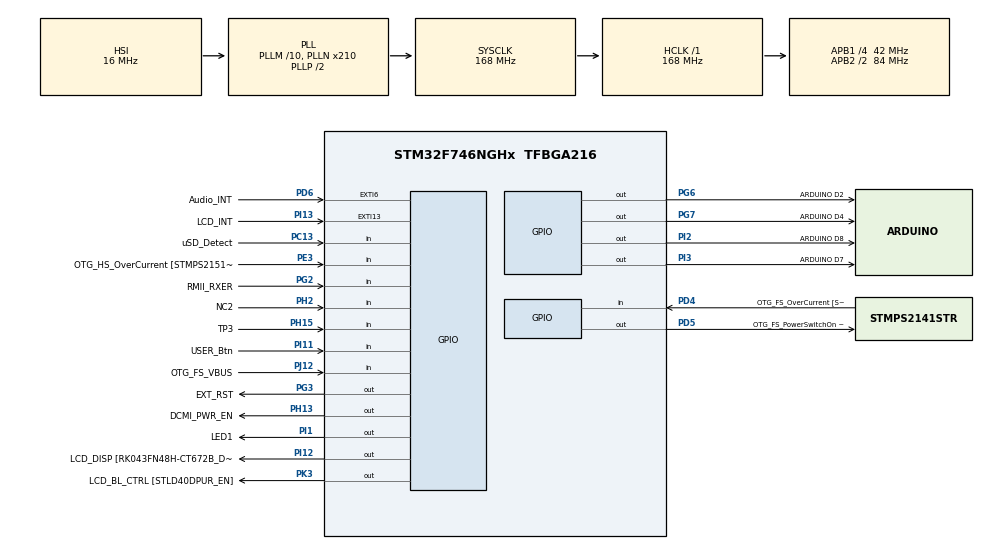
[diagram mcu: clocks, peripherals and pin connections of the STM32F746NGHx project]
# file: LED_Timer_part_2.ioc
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Mcu.Family=STM32F7
Mcu.Name=STM32F746NGHx
Mcu.Package=TFBGA216
NVIC.PriorityGroup=NVIC_PRIORITYGROUP_4
NVIC.TIM6_DAC_IRQn=true\:0\:0\:false\:false\:true\:true\:true\:true
PA0/WKUP.GPIO_Label=ARDUINO A0
PA0/WKUP.GPIO_Mode=GPIO_MODE_ANALOG
PA0/WKUP.GPIO_PuPd=GPIO_NOPULL
PA0/WKUP.Signal=ADCx_IN0
PA1.GPIO_Label=RMII_REF_CLK [LAN8742A-CZ-TR_REFCLK0]
PA1.Signal=ETH_REF_CLK
PA10.GPIO_Label=OTG_FS_ID
PA10.Signal=USB_OTG_FS_ID
PA11.GPIO_Label=OTG_FS_N
PA11.Signal=USB_OTG_FS_DM
PA12.GPIO_Label=OTG_FS_P
PA12.Signal=USB_OTG_FS_DP
PA13.GPIO_Label=SWDIO
PA13.Signal=SYS_JTMS-SWDIO
PA14.GPIO_Label=SWCLK
PA14.Signal=SYS_JTCK-SWCLK
PA15.GPIO_Label=ARDUINO PWM/D9
PA15.GPIO_ModeDefaultPP=GPIO_MODE_AF_PP
PA15.GPIO_PuPd=GPIO_NOPULL
PA15.GPIO_Speed=GPIO_SPEED_FREQ_LOW
PA15.Signal=S_TIM2_CH1_ETR
PA2.GPIO_Label=RMII_MDIO [LAN8742A-CZ-TR_MDIO]
PA2.Signal=ETH_MDIO
PA3.GPIO_Label=ULPI_D0 [USB3320C-EZK_D0]
PA3.Signal=USB_OTG_HS_ULPI_D0
PA4.GPIO_Label=DCMI_HSYNC
PA4.Signal=DCMI_HSYNC
PA5.GPIO_Label=ULPI_CLK [USB3320C-EZK_CLKOUT]
PA5.Signal=USB_OTG_HS_ULPI_CK
PA6.Signal=DCMI_PIXCLK
PA7.GPIO_Label=RMII_CRS_DV [LAN8742A-CZ-TR_CRS_DV]
PA7.Signal=ETH_CRS_DV
PA8.GPIO_Label=ARDUINO PWM/D10
PA8.GPIO_ModeDefaultPP=GPIO_MODE_AF_PP
PA8.GPIO_PuPd=GPIO_NOPULL
PA8.GPIO_Speed=GPIO_SPEED_FREQ_LOW
PA8.Signal=S_TIM1_CH1
PA9.GPIO_Label=VCP_TX [STM32F103CBT6_PA3]
PA9.GPIO_Mode=GPIO_MODE_AF_PP
PA9.GPIO_PuPd=GPIO_NOPULL
PA9.GPIO_Speed=GPIO_SPEED_FREQ_LOW
PA9.Signal=USART1_TX
PB0.GPIO_Label=ULPI_D1 [USB3320C-EZK_D1]
PB0.Signal=USB_OTG_HS_ULPI_D1
PB1.GPIO_Label=ULPI_D2 [USB3320C-EZK_D2]
PB1.Signal=USB_OTG_HS_ULPI_D2
PB10.GPIO_Label=ULPI_D3 [USB3320C-EZK_D3]
PB10.Signal=USB_OTG_HS_ULPI_D3
PB11.GPIO_Label=ULPI_D4 [USB3320C-EZK_D4]
PB11.Signal=USB_OTG_HS_ULPI_D4
PB12.GPIO_Label=ULPI_D5 [USB3320C-EZK_D5]
PB12.Signal=USB_OTG_HS_ULPI_D5
PB13.GPIO_Label=ULPI_D6 [USB3320C-EZK_D6]
PB13.Signal=USB_OTG_HS_ULPI_D6
PB14.GPIO_Label=ARDUINO MISO/D12
PB14.GPIO_Mode=GPIO_MODE_AF_PP
PB14.GPIO_PuPd=GPIO_NOPULL
PB14.GPIO_Speed=GPIO_SPEED_FREQ_LOW
PB14.Signal=SPI2_MISO
PB15.GPIO_Label=ARDUINO MOSI/PWM/D11
PB15.GPIO_Mode=GPIO_MODE_AF_PP
PB15.GPIO_PuPd=GPIO_NOPULL
PB15.GPIO_Speed=GPIO_SPEED_FREQ_LOW
PB15.Signal=SPI2_MOSI
PB2.Signal=QUADSPI_CLK
PB3.GPIO_Label=SWO
PB3.Signal=SYS_JTDO-SWO
PB4.GPIO_Label=ARDUINO PWM/D3
PB4.GPIO_ModeDefaultPP=GPIO_MODE_AF_PP
PB4.GPIO_PuPd=GPIO_NOPULL
PB4.GPIO_Speed=GPIO_SPEED_FREQ_LOW
PB4.Signal=S_TIM3_CH1
PB5.GPIO_Label=ULPI_D7 [USB3320C-EZK_D7]
PB5.Signal=USB_OTG_HS_ULPI_D7
PB6.GPIO_Label=QSPI_NCS [N25Q128A13EF840E_S]
PB6.Signal=QUADSPI_BK1_NCS
PB7.GPIO_Label=VCP_RX [STM32F103CBT6_PA2]
PB7.GPIO_Mode=GPIO_MODE_AF_PP
PB7.GPIO_PuPd=GPIO_NOPULL
PB7.GPIO_Speed=GPIO_SPEED_FREQ_LOW
PB7.Signal=USART1_RX
PB8.GPIO_Label=ARDUINO SCL/D15
PB8.GPIO_Mode=GPIO_MODE_AF_OD
PB8.GPIO_PuPd=GPIO_NOPULL
PB8.GPIO_Speed=GPIO_SPEED_FREQ_LOW
PB8.Signal=I2C1_SCL
PB9.GPIO_Label=ARDUINO SDA/D14
PB9.GPIO_Mode=GPIO_MODE_AF_OD
PB9.GPIO_PuPd=GPIO_NOPULL
PB9.GPIO_Speed=GPIO_SPEED_FREQ_LOW
PB9.Signal=I2C1_SDA
PC0.GPIO_Label=ULPI_STP [USB3320C-EZK_STP]
PC0.Signal=USB_OTG_HS_ULPI_STP
PC1.GPIO_Label=RMII_MDC [LAN8742A-CZ-TR_MDC]
PC1.Signal=ETH_MDC
PC10.GPIO_Label=SDMMC_D2
PC10.Signal=SDMMC1_D2
PC11.GPIO_Label=SDMMC_D3
PC11.Signal=SDMMC1_D3
PC12.GPIO_Label=SDMMC_CK
PC12.Signal=SDMMC1_CK
PC13.GPIO_Label=uSD_Detect
PC13.Signal=GPIO_Input
PC14/OSC32_IN.GPIO_Label=RCC_OSC32_IN
PC14/OSC32_IN.Signal=RCC_OSC32_IN
PC15/OSC32_OUT.GPIO_Label=RCC_OSC32_OUT
PC15/OSC32_OUT.Signal=RCC_OSC32_OUT
PC3.GPIO_Label=FMC_SDCKE0 [MT48LC4M32B2B5-6A_CKE]
PC3.Signal=FMC_SDCKE0
PC4.GPIO_Label=RMII_RXD0 [LAN8742A-CZ-TR_RXD0]
PC4.Signal=ETH_RXD0
PC5.GPIO_Label=RMII_RXD1 [LAN8742A-CZ-TR_RXD1]
PC5.Signal=ETH_RXD1
PC6.GPIO_Label=ARDUINO TX/D1
PC6.Signal=USART6_TX
PC7.GPIO_Label=ARDUINO RX/D0
PC7.Signal=USART6_RX
PC8.Signal=SDMMC1_D0
PC9.Signal=SDMMC1_D1
PD0.GPIO_Label=FMC_D2 [MT48LC4M32B2B5-6A_DQ2]
PD0.Signal=FMC_D2_DA2
PD1.GPIO_Label=FMC_D3 [MT48LC4M32B2B5-6A_DQ3]
PD1.Signal=FMC_D3_DA3
PD10.GPIO_Label=FMC_D15 [MT48LC4M32B2B5-6A_DQ15]
PD10.Signal=FMC_D15_DA15
PD11.GPIO_Label=QSPI_D0 [N25Q128A13EF840E_DQ0]
PD11.Signal=QUADSPI_BK1_IO0
PD12.GPIO_Label=QSPI_D1 [N25Q128A13EF840E_DQ1]
PD12.Signal=QUADSPI_BK1_IO1
PD13.GPIO_Label=QSPI_D3 [N25Q128A13EF840E_DQ3]
PD13.Signal=QUADSPI_BK1_IO3
PD14.GPIO_Label=FMC_D0 [MT48LC4M32B2B5-6A_DQ0]
PD14.Signal=FMC_D0_DA0
PD15.GPIO_Label=FMC_D1 [MT48LC4M32B2B5-6A_DQ1]
PD15.Signal=FMC_D1_DA1
PD2.GPIO_Label=SDMMC_D0
PD2.Signal=SDMMC1_CMD
PD3.GPIO_Label=DCMI_D5
PD3.Signal=DCMI_D5
PD4.GPIO_Label=OTG_FS_OverCurrent [STMPS2141STR_Fault]
PD4.Signal=GPIO_Input
PD5.GPIO_Label=OTG_FS_PowerSwitchOn [STMPS2141STR_EN]
PD5.PinState=GPIO_PIN_SET
PD5.Signal=GPIO_Output
PD6.GPIO_Label=Audio_INT
PD6.GPIO_ModeDefaultEXTI=GPIO_MODE_EVT_RISING
PD6.Signal=GPXTI6
PD7.GPIO_Label=SPDIF_RX0 [74LVC1G04SE_4]
PD7.Signal=SPDIFRX_IN0
PD8.GPIO_Label=FMC_D13 [MT48LC4M32B2B5-6A_DQ13]
PD8.Signal=FMC_D13_DA13
PD9.GPIO_Label=FMC_D14 [MT48LC4M32B2B5-6A_DQ14]
PD9.Signal=FMC_D14_DA14
PE0.GPIO_Label=FMC_NBL0 [MT48LC4M32B2B5-6A_DQM0]
PE0.Signal=FMC_NBL0
PE1.GPIO_Label=FMC_NBL1 [MT48LC4M32B2B5-6A_DQM1]
PE1.Signal=FMC_NBL1
PE10.GPIO_Label=FMC_D7 [MT48LC4M32B2B5-6A_DQ7]
PE10.Signal=FMC_D7_DA7
PE11.GPIO_Label=FMC_D8 [MT48LC4M32B2B5-6A_DQ8]
PE11.Signal=FMC_D8_DA8
PE12.GPIO_Label=FMC_D9 [MT48LC4M32B2B5-6A_DQ9]
PE12.Signal=FMC_D9_DA9
PE13.GPIO_Label=FMC_D10 [MT48LC4M32B2B5-6A_DQ10]
PE13.Signal=FMC_D10_DA10
PE14.GPIO_Label=FMC_D11 [MT48LC4M32B2B5-6A_DQ11]
PE14.Signal=FMC_D11_DA11
PE15.GPIO_Label=FMC_D12 [MT48LC4M32B2B5-6A_DQ12]
PE15.Signal=FMC_D12_DA12
PE2.GPIO_Label=QSPI_D2 [N25Q128A13EF840E_DQ2]
PE2.Signal=QUADSPI_BK1_IO2
PE3.GPIO_Label=OTG_HS_OverCurrent [STMPS2151STR_FAULT]
PE3.Signal=GPIO_Input
PE4.GPIO_Label=LCD_B0 [RK043FN48H-CT672B_B0]
PE4.Signal=LTDC_B0
PE5.GPIO_Label=DCMI_D6
PE5.Signal=DCMI_D6
PE6.GPIO_Label=DCMI_D7
PE6.Signal=DCMI_D7
PE7.GPIO_Label=FMC_D4 [MT48LC4M32B2B5-6A_DQ4]
PE7.Signal=FMC_D4_DA4
PE8.GPIO_Label=FMC_D5 [MT48LC4M32B2B5-6A_DQ5]
PE8.Signal=FMC_D5_DA5
PE9.GPIO_Label=FMC_D6 [MT48LC4M32B2B5-6A_DQ6]
PE9.Signal=FMC_D6_DA6
PF0.GPIO_Label=FMC_A0 [MT48LC4M32B2B5-6A_A0]
PF0.Signal=FMC_A0
PF1.GPIO_Label=FMC_A1 [MT48LC4M32B2B5-6A_A1]
PF1.Signal=FMC_A1
PF10.GPIO_Label=ARDUINO A1
PF10.GPIO_Mode=GPIO_MODE_ANALOG
PF10.GPIO_PuPd=GPIO_NOPULL
PF10.Signal=ADC3_IN8
PF11.GPIO_Label=FMC_SDNRAS [MT48LC4M32B2B5-6A_RAS]
PF11.Signal=FMC_SDNRAS
PF12.GPIO_Label=FMC_A6 [MT48LC4M32B2B5-6A_A6]
PF12.Signal=FMC_A6
PF13.GPIO_Label=FMC_A7 [MT48LC4M32B2B5-6A_A7]
PF13.Signal=FMC_A7
PF14.GPIO_Label=FMC_A8 [MT48LC4M32B2B5-6A_A8]
PF14.Signal=FMC_A8
PF15.GPIO_Label=FMC_A9 [MT48LC4M32B2B5-6A_A9]
PF15.Signal=FMC_A9
PF2.GPIO_Label=FMC_A2 [MT48LC4M32B2B5-6A_A2]
PF2.Signal=FMC_A2
PF3.GPIO_Label=FMC_A3 [MT48LC4M32B2B5-6A_A3]
PF3.Signal=FMC_A3
PF4.GPIO_Label=FMC_A4 [MT48LC4M32B2B5-6A_A4]
PF4.Signal=FMC_A4
PF5.GPIO_Label=FMC_A5 [MT48LC4M32B2B5-6A_A5]
PF5.Signal=FMC_A5
PF6.GPIO_Label=ARDUINO A5
PF6.GPIO_Mode=GPIO_MODE_ANALOG
PF6.GPIO_PuPd=GPIO_NOPULL
PF6.Signal=ADC3_IN4
PF7.GPIO_Label=ARDUINO A4
PF7.GPIO_Mode=GPIO_MODE_ANALOG
PF7.GPIO_PuPd=GPIO_NOPULL
PF7.Signal=ADC3_IN5
PF8.GPIO_Label=ARDUINO A3
PF8.GPIO_Mode=GPIO_MODE_ANALOG
PF8.GPIO_PuPd=GPIO_NOPULL
PF8.Signal=ADC3_IN6
PF9.GPIO_Label=ARDUINO A2
PF9.GPIO_Mode=GPIO_MODE_ANALOG
PF9.GPIO_PuPd=GPIO_NOPULL
PF9.Signal=ADC3_IN7
PG0.GPIO_Label=FMC_A10 [MT48LC4M32B2B5-6A_A10]
PG0.Signal=FMC_A10
PG1.GPIO_Label=FMC_A11 [MT48LC4M32B2B5-6A_A11]
PG1.Signal=FMC_A11
PG10.GPIO_Label=SAI2_SDB [WM8994ECS/R_ADCDAT1]
PG10.Signal=SAI2_SD_B
PG11.GPIO_Label=RMII_TX_EN [LAN8742A-CZ-TR_TXEN]
PG11.Signal=ETH_TX_EN
PG12.GPIO_Label=LCD_B4 [RK043FN48H-CT672B_B4]
PG12.Signal=LTDC_B4
PG13.GPIO_Label=RMII_TXD0 [LAN8742A-CZ-TR_TXD0]
PG13.Signal=ETH_TXD0
PG14.GPIO_Label=RMII_TXD1 [LAN8742A-CZ-TR_TXD1]
PG14.Signal=ETH_TXD1
PG15.GPIO_Label=FMC_SDNCAS [MT48LC4M32B2B5-6A_CAS]
PG15.Signal=FMC_SDNCAS
PG2.GPIO_Label=RMII_RXER
PG2.Signal=GPIO_Input
PG3.GPIO_Label=EXT_RST
PG3.Signal=GPIO_Output
PG4.GPIO_Label=FMC_BA0 [MT48LC4M32B2B5-6A_BA0]
PG4.Signal=FMC_A14_BA0
PG5.GPIO_Label=FMC_BA1 [MT48LC4M32B2B5-6A_BA1]
PG5.Signal=FMC_A15_BA1
PG6.GPIO_Label=ARDUINO D2
PG6.Signal=GPIO_Output
PG7.GPIO_Label=ARDUINO D4
PG7.Signal=GPIO_Output
PG8.GPIO_Label=FMC_SDCLK [MT48LC4M32B2B5-6A_CLK]
PG8.Signal=FMC_SDCLK
PG9.GPIO_Label=DCMI_VSYNC
PG9.Signal=DCMI_VSYNC
PH0/OSC_IN.GPIO_Label=OSC_25M [NZ2520SB-25.00M_OUT]
PH0/OSC_IN.Signal=RCC_OSC_IN
PH1/OSC_OUT.Signal=RCC_OSC_OUT
PH10.GPIO_Label=DCMI_D1
PH10.Signal=DCMI_D1
PH11.GPIO_Label=DCMI_D2
PH11.Signal=DCMI_D2
PH12.GPIO_Label=DCMI_D3
PH12.Signal=DCMI_D3
PH13.GPIO_Label=DCMI_PWR_EN
PH13.Signal=GPIO_Output
PH14.GPIO_Label=DCMI_D4
PH14.Signal=DCMI_D4
PH15.GPIO_Label=TP3
PH15.Signal=GPIO_Input
PH2.GPIO_Label=NC2
PH2.Signal=GPIO_Input
PH3.GPIO_Label=FMC_SDNE0 [MT48LC4M32B2B5-6A_CS]
PH3.Signal=FMC_SDNE0
PH4.GPIO_Label=ULPI_NXT [USB3320C-EZK_NXT]
PH4.Signal=USB_OTG_HS_ULPI_NXT
PH5.GPIO_Label=FMC_SDNME [MT48LC4M32B2B5-6A_WE]
PH5.Signal=FMC_SDNWE
PH6.GPIO_Label=ARDUINO PWM/D6
PH6.Signal=S_TIM12_CH1
PH7.GPIO_Label=LCD_SCL [RK043FN48H-CT672B_SCL]
PH7.Signal=I2C3_SCL
PH8.GPIO_Label=LCD_SDA [RK043FN48H-CT672B_SDA]
PH8.Signal=I2C3_SDA
PH9.GPIO_Label=DCMI_D0
PH9.Signal=DCMI_D0
PI0.GPIO_Label=ARDUINO PWM/CS/D5
PI0.GPIO_ModeDefaultPP=GPIO_MODE_AF_PP
PI0.GPIO_PuPd=GPIO_NOPULL
PI0.GPIO_Speed=GPIO_SPEED_FREQ_LOW
PI0.Signal=S_TIM5_CH4
PI1.GPIO_Label=LED1
PI1.Signal=GPIO_Output
PI10.GPIO_Label=LCD_HSYNC [RK043FN48H-CT672B_HSYNC]
PI10.Signal=LTDC_HSYNC
PI11.GPIO_Label=USER_Btn
PI11.Signal=GPIO_Input
PI12.GPIO_Label=LCD_DISP [RK043FN48H-CT672B_DISP] 
PI12.Signal=GPIO_Output
PI13.GPIO_Label=LCD_INT
PI13.GPIO_ModeDefaultEXTI=GPIO_MODE_EVT_RISING
PI13.Signal=GPXTI13
PI14.GPIO_Label=LCD_CLK [RK043FN48H-CT672B_CLK]
PI14.Signal=LTDC_CLK
PI15.GPIO_Label=LCD_R0 [RK043FN48H-CT672B_R0]
PI15.Signal=LTDC_R0
PI2.GPIO_Label=ARDUINO D8
PI2.Signal=GPIO_Output
PI3.GPIO_Label=ARDUINO D7
PI3.Signal=GPIO_Output
PI4.GPIO_Label=SAI2_MCLKA [WM8994ECS/R_MCLK1]
PI4.Signal=SAI2_MCLK_A
PI5.GPIO_Label=SAI2_SCKA [WM8994ECS/R_BCLK1]
PI5.Signal=SAI2_SCK_A
PI6.GPIO_Label=SAI2_SDA [WM8994ECS/R_DACDAT1]
PI6.Signal=SAI2_SD_A
PI7.GPIO_Label=SAI2_FSA [WM8994ECS/R_LRCLK1]
PI7.Signal=SAI2_FS_A
PI8.GPIO_Label=NC1 [TP2]
PI8.Signal=RTC_TS
PI9.GPIO_Label=LCD_VSYNC [RK043FN48H-CT672B_VSYNC]
PI9.Signal=LTDC_VSYNC
PJ0.GPIO_Label=LCD_R1 [RK043FN48H-CT672B_R1]
PJ0.Signal=LTDC_R1
PJ1.GPIO_Label=LCD_R2 [RK043FN48H-CT672B_R2]
PJ1.Signal=LTDC_R2
PJ10.GPIO_Label=LCD_G3 [RK043FN48H-CT672B_G3]
PJ10.Signal=LTDC_G3
PJ11.GPIO_Label=LCD_G4 [RK043FN48H-CT672B_G4]
PJ11.Signal=LTDC_G4
PJ12.GPIO_Label=OTG_FS_VBUS
PJ12.Signal=GPIO_Input
PJ13.GPIO_Label=LCD_B1 [RK043FN48H-CT672B_B1]
PJ13.Signal=LTDC_B1
PJ14.GPIO_Label=LCD_B2 [RK043FN48H-CT672B_B2]
PJ14.Signal=LTDC_B2
PJ15.GPIO_Label=LCD_B3 [RK043FN48H-CT672B_B3]
PJ15.Signal=LTDC_B3
PJ2.GPIO_Label=LCD_R3 [RK043FN48H-CT672B_R3]
PJ2.Signal=LTDC_R3
PJ3.GPIO_Label=LCD_R4 [RK043FN48H-CT672B_R4]
PJ3.Signal=LTDC_R4
PJ4.GPIO_Label=LCD_R5 [RK043FN48H-CT672B_R5]
PJ4.Signal=LTDC_R5
PJ5.GPIO_Label=LCD_R6 [RK043FN48H-CT672B_R6]
PJ5.Signal=LTDC_R6
PJ6.GPIO_Label=LCD_R7 [RK043FN48H-CT672B_R7]
PJ6.Signal=LTDC_R7
PJ7.GPIO_Label=LCD_G0 [RK043FN48H-CT672B_G0]
PJ7.Signal=LTDC_G0
PJ8.GPIO_Label=LCD_G1 [RK043FN48H-CT672B_G1]
PJ8.Signal=LTDC_G1
PJ9.GPIO_Label=LCD_G2 [RK043FN48H-CT672B_G2]
PJ9.Signal=LTDC_G2
PK0.GPIO_Label=LCD_G5 [RK043FN48H-CT672B_G5]
PK0.Signal=LTDC_G5
PK1.GPIO_Label=LCD_G6 [RK043FN48H-CT672B_G6]
PK1.Signal=LTDC_G6
PK2.GPIO_Label=LCD_G7 [RK043FN48H-CT672B_G7]
PK2.Signal=LTDC_G7
PK3.GPIO_Label=LCD_BL_CTRL [STLD40DPUR_EN]
PK3.Signal=GPIO_Output
PK4.GPIO_Label=LCD_B5 [RK043FN48H-CT672B_B5]
PK4.Signal=LTDC_B5
PK5.GPIO_Label=LCD_B6 [RK043FN48H-CT672B_B6]
PK5.Signal=LTDC_B6
PK6.GPIO_Label=LCD_B7 [RK043FN48H-CT672B_B7]
PK6.Signal=LTDC_B7
PK7.GPIO_Label=LCD_DE [RK043FN48H-CT672B_DE]
PK7.Signal=LTDC_DE
ProjectManager.HeapSize=0x200
ProjectManager.StackSize=0x400
ProjectManager.TargetToolchain=STM32CubeIDE
RCC.AHBFreq_Value=168000000
RCC.APB1CLKDivider=RCC_HCLK_DIV4
RCC.APB1Freq_Value=42000000
RCC.APB1TimFreq_Value=84000000
RCC.APB2CLKDivider=RCC_HCLK_DIV2
RCC.APB2Freq_Value=84000000
RCC.APB2TimFreq_Value=168000000
RCC.CortexFreq_Value=168000000
RCC.HCLKFreq_Value=168000000
RCC.HSE_VALUE=25000000
RCC.HSI_VALUE=16000000
RCC.LSE_VALUE=32768
RCC.PLLM=10
RCC.PLLN=210
RCC.PLLSourceVirtual=RCC_PLLSOURCE_HSI
RCC.SYSCLKFreq_VALUE=168000000
RCC.SYSCLKSource=RCC_SYSCLKSOURCE_PLLCLK
RCC.USBFreq_Value=168000000
RCC.VCOOutputFreq_Value=336000000
SH.ADCx_IN0.0=ADC3_IN0
SH.FMC_A0.0=FMC_A0
SH.FMC_A1.0=FMC_A1
SH.FMC_A10.0=FMC_A10
SH.FMC_A11.0=FMC_A11
SH.FMC_A14_BA0.0=FMC_BA0
SH.FMC_A15_BA1.0=FMC_BA1
SH.FMC_A2.0=FMC_A2
SH.FMC_A3.0=FMC_A3
SH.FMC_A4.0=FMC_A4
SH.FMC_A5.0=FMC_A5
SH.FMC_A6.0=FMC_A6
SH.FMC_A7.0=FMC_A7
SH.FMC_A8.0=FMC_A8
SH.FMC_A9.0=FMC_A9
SH.FMC_D0_DA0.0=FMC_D0
SH.FMC_D10_DA10.0=FMC_D10
SH.FMC_D11_DA11.0=FMC_D11
SH.FMC_D12_DA12.0=FMC_D12
SH.FMC_D13_DA13.0=FMC_D13
SH.FMC_D14_DA14.0=FMC_D14
SH.FMC_D15_DA15.0=FMC_D15
SH.FMC_D1_DA1.0=FMC_D1
SH.FMC_D2_DA2.0=FMC_D2
SH.FMC_D3_DA3.0=FMC_D3
SH.FMC_D4_DA4.0=FMC_D4
SH.FMC_D5_DA5.0=FMC_D5
SH.FMC_D6_DA6.0=FMC_D6
SH.FMC_D7_DA7.0=FMC_D7
SH.FMC_D8_DA8.0=FMC_D8
SH.FMC_D9_DA9.0=FMC_D9
SH.FMC_NBL0.0=FMC_NBL0
SH.FMC_NBL1.0=FMC_NBL1
SH.FMC_SDCLK.0=FMC_SDCLK
SH.FMC_SDNCAS.0=FMC_SDNCAS
SH.FMC_SDNRAS.0=FMC_SDNRAS
SH.FMC_SDNWE.0=FMC_SDNWE
SH.S_TIM12_CH1.0=TIM12_CH1
SH.S_TIM1_CH1.0=TIM1_CH1
SH.S_TIM2_CH1_ETR.0=TIM2_CH1
SH.S_TIM3_CH1.0=TIM3_CH1
SH.S_TIM5_CH4.0=TIM5_CH4
TIM6.Period=4999
TIM6.Prescaler=8399
VP_TIM6_VS_ClockSourceINT.Mode=Enable_Timer
board=STM32F746G-DISCO

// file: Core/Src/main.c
/* USER CODE BEGIN Header */
/**
  ******************************************************************************
  * @file           : main.c
  * @brief          : Main program body
  ******************************************************************************
  * @attention
  *
  * Copyright (c) 2026 STMicroelectronics.
  * All rights reserved.
  *
  * This software is licensed under terms that can be found in the LICENSE file
  * in the root directory of this software component.
  * If no LICENSE file comes with this software, it is provided AS-IS.
  *
  ******************************************************************************
  */
/* USER CODE END Header */
#include "main.h"

TIM_HandleTypeDef htim6;

/* USER CODE BEGIN PV */
volatile uint32_t current_freq = 1;
uint8_t is_custom_duty_cycle = 0;
uint32_t led_on_time = 0;
uint32_t btn_press_start = 0;
uint8_t btn_pressed = 0;
/* USER CODE END PV */

void SystemClock_Config(void);
static void MX_GPIO_Init(void);
static void MX_TIM6_Init(void);

int main(void)
{

  /* MCU Configuration--------------------------------------------------------*/

  /* Reset of all peripherals, Initializes the Flash interface and the Systick. */
  HAL_Init();

  /* Configure the system clock */
  SystemClock_Config();

  /* Initialize all configured peripherals */
  MX_GPIO_Init();
  MX_TIM6_Init();
  /* USER CODE BEGIN 2 */

  // Timer on
  __HAL_TIM_SET_AUTORELOAD(&htim6, 5000 - 1);
  HAL_TIM_Base_Start_IT(&htim6);
  /* USER CODE END 2 */

  /* Infinite loop */
  /* USER CODE BEGIN WHILE */
  while (1)
  {

      if (HAL_GPIO_ReadPin(USER_Btn_GPIO_Port, USER_Btn_Pin) == GPIO_PIN_SET) {
          if (!btn_pressed) {
              btn_pressed = 1;
              btn_press_start = HAL_GetTick();
          }
      }

      else {
          if (btn_pressed) {
              btn_pressed = 0;
              uint32_t press_duration = HAL_GetTick() - btn_press_start;

              if (press_duration >= 1000) {
                  is_custom_duty_cycle = !is_custom_duty_cycle;
              }

              else if (press_duration > 50) {
                  current_freq *= 2;
                  if (current_freq > 16) current_freq = 1;

                  uint32_t new_period = (10000 / (current_freq * 2)) - 1;
                  __HAL_TIM_SET_AUTORELOAD(&htim6, new_period);
                  __HAL_TIM_SET_COUNTER(&htim6, 0);
              }
          }
      }

      if (is_custom_duty_cycle == 1) {
          if (HAL_GPIO_ReadPin(LED1_GPIO_Port, LED1_Pin) == GPIO_PIN_SET) {
              if ((HAL_GetTick() - led_on_time) >= 50) {
                  HAL_GPIO_WritePin(LED1_GPIO_Port, LED1_Pin, GPIO_PIN_RESET);
              }
          }
      }
    /* USER CODE END WHILE */

  }
}

void SystemClock_Config(void)
{
  RCC_OscInitTypeDef RCC_OscInitStruct = {0};
  RCC_ClkInitTypeDef RCC_ClkInitStruct = {0};

  /** Configure the main internal regulator output voltage
  */
  __HAL_RCC_PWR_CLK_ENABLE();
  __HAL_PWR_VOLTAGESCALING_CONFIG(PWR_REGULATOR_VOLTAGE_SCALE2);

  /** Initializes the RCC Oscillators according to the specified parameters
  * in the RCC_OscInitTypeDef structure.
  */
  RCC_OscInitStruct.OscillatorType = RCC_OSCILLATORTYPE_HSI;
  RCC_OscInitStruct.HSIState = RCC_HSI_ON;
  RCC_OscInitStruct.HSICalibrationValue = RCC_HSICALIBRATION_DEFAULT;
  RCC_OscInitStruct.PLL.PLLState = RCC_PLL_ON;
  RCC_OscInitStruct.PLL.PLLSource = RCC_PLLSOURCE_HSI;
  RCC_OscInitStruct.PLL.PLLM = 10;
  RCC_OscInitStruct.PLL.PLLN = 210;
  RCC_OscInitStruct.PLL.PLLP = RCC_PLLP_DIV2;
  RCC_OscInitStruct.PLL.PLLQ = 2;
  if (HAL_RCC_OscConfig(&RCC_OscInitStruct) != HAL_OK)
  {
    Error_Handler();
  }

  /** Initializes the CPU, AHB and APB buses clocks
  */
  RCC_ClkInitStruct.ClockType = RCC_CLOCKTYPE_HCLK|RCC_CLOCKTYPE_SYSCLK
                              |RCC_CLOCKTYPE_PCLK1|RCC_CLOCKTYPE_PCLK2;
  RCC_ClkInitStruct.SYSCLKSource = RCC_SYSCLKSOURCE_PLLCLK;
  RCC_ClkInitStruct.AHBCLKDivider = RCC_SYSCLK_DIV1;
  RCC_ClkInitStruct.APB1CLKDivider = RCC_HCLK_DIV4;
  RCC_ClkInitStruct.APB2CLKDivider = RCC_HCLK_DIV2;

  if (HAL_RCC_ClockConfig(&RCC_ClkInitStruct, FLASH_LATENCY_5) != HAL_OK)
  {
    Error_Handler();
  }
}

static void MX_TIM6_Init(void)
{

  TIM_MasterConfigTypeDef sMasterConfig = {0};

  htim6.Instance = TIM6;
  htim6.Init.Prescaler = 8399;
  htim6.Init.CounterMode = TIM_COUNTERMODE_UP;
  htim6.Init.Period = 4999;
  htim6.Init.AutoReloadPreload = TIM_AUTORELOAD_PRELOAD_DISABLE;
  if (HAL_TIM_Base_Init(&htim6) != HAL_OK)
  {
    Error_Handler();
  }
  sMasterConfig.MasterOutputTrigger = TIM_TRGO_RESET;
  sMasterConfig.MasterSlaveMode = TIM_MASTERSLAVEMODE_DISABLE;
  if (HAL_TIMEx_MasterConfigSynchronization(&htim6, &sMasterConfig) != HAL_OK)
  {
    Error_Handler();
  }

}

static void MX_GPIO_Init(void)
{
  GPIO_InitTypeDef GPIO_InitStruct = {0};

  /* GPIO Ports Clock Enable */
  __HAL_RCC_GPIOE_CLK_ENABLE();
  __HAL_RCC_GPIOG_CLK_ENABLE();
  __HAL_RCC_GPIOB_CLK_ENABLE();
  __HAL_RCC_GPIOD_CLK_ENABLE();
  __HAL_RCC_GPIOC_CLK_ENABLE();
  __HAL_RCC_GPIOA_CLK_ENABLE();
  __HAL_RCC_GPIOJ_CLK_ENABLE();
  __HAL_RCC_GPIOI_CLK_ENABLE();
  __HAL_RCC_GPIOK_CLK_ENABLE();
  __HAL_RCC_GPIOF_CLK_ENABLE();
  __HAL_RCC_GPIOH_CLK_ENABLE();

  /*Configure GPIO pin Output Level */
  HAL_GPIO_WritePin(OTG_FS_PowerSwitchOn_GPIO_Port, OTG_FS_PowerSwitchOn_Pin, GPIO_PIN_SET);

  /*Configure GPIO pin Output Level */
  HAL_GPIO_WritePin(GPIOI, ARDUINO_D7_Pin|ARDUINO_D8_Pin|LED1_Pin|LCD_DISP_Pin, GPIO_PIN_RESET);

  /*Configure GPIO pin Output Level */
  HAL_GPIO_WritePin(LCD_BL_CTRL_GPIO_Port, LCD_BL_CTRL_Pin, GPIO_PIN_RESET);

  /*Configure GPIO pin Output Level */
  HAL_GPIO_WritePin(DCMI_PWR_EN_GPIO_Port, DCMI_PWR_EN_Pin, GPIO_PIN_RESET);

  /*Configure GPIO pin Output Level */
  HAL_GPIO_WritePin(GPIOG, ARDUINO_D4_Pin|ARDUINO_D2_Pin|EXT_RST_Pin, GPIO_PIN_RESET);

  /*Configure GPIO pin : LCD_B0_Pin */
  GPIO_InitStruct.Pin = LCD_B0_Pin;
  GPIO_InitStruct.Mode = GPIO_MODE_AF_PP;
  GPIO_InitStruct.Pull = GPIO_NOPULL;
  GPIO_InitStruct.Speed = GPIO_SPEED_FREQ_LOW;
  GPIO_InitStruct.Alternate = GPIO_AF14_LTDC;
  HAL_GPIO_Init(LCD_B0_GPIO_Port, &GPIO_InitStruct);

  /*Configure GPIO pin : OTG_HS_OverCurrent_Pin */
  GPIO_InitStruct.Pin = OTG_HS_OverCurrent_Pin;
  GPIO_InitStruct.Mode = GPIO_MODE_INPUT;
  GPIO_InitStruct.Pull = GPIO_NOPULL;
  HAL_GPIO_Init(OTG_HS_OverCurrent_GPIO_Port, &GPIO_InitStruct);

  /*Configure GPIO pin : QSPI_D2_Pin */
  GPIO_InitStruct.Pin = QSPI_D2_Pin;
  GPIO_InitStruct.Mode = GPIO_MODE_AF_PP;
  GPIO_InitStruct.Pull = GPIO_NOPULL;
  GPIO_InitStruct.Speed = GPIO_SPEED_FREQ_VERY_HIGH;
  GPIO_InitStruct.Alternate = GPIO_AF9_QUADSPI;
  HAL_GPIO_Init(QSPI_D2_GPIO_Port, &GPIO_InitStruct);

  /*Configure GPIO pins : RMII_TXD1_Pin RMII_TXD0_Pin RMII_TX_EN_Pin */
  GPIO_InitStruct.Pin = RMII_TXD1_Pin|RMII_TXD0_Pin|RMII_TX_EN_Pin;
  GPIO_InitStruct.Mode = GPIO_MODE_AF_PP;
  GPIO_InitStruct.Pull = GPIO_NOPULL;
  GPIO_InitStruct.Speed = GPIO_SPEED_FREQ_VERY_HIGH;
  GPIO_InitStruct.Alternate = GPIO_AF11_ETH;
  HAL_GPIO_Init(GPIOG, &GPIO_InitStruct);

  /*Configure GPIO pins : FMC_NBL1_Pin FMC_NBL0_Pin FMC_D5_Pin FMC_D6_Pin
                           FMC_D8_Pin FMC_D11_Pin FMC_D4_Pin FMC_D7_Pin
                           FMC_D9_Pin FMC_D12_Pin FMC_D10_Pin */
  GPIO_InitStruct.Pin = FMC_NBL1_Pin|FMC_NBL0_Pin|FMC_D5_Pin|FMC_D6_Pin
                          |FMC_D8_Pin|FMC_D11_Pin|FMC_D4_Pin|FMC_D7_Pin
                          |FMC_D9_Pin|FMC_D12_Pin|FMC_D10_Pin;
  GPIO_InitStruct.Mode = GPIO_MODE_AF_PP;
  GPIO_InitStruct.Pull = GPIO_NOPULL;
  GPIO_InitStruct.Speed = GPIO_SPEED_FREQ_VERY_HIGH;
  GPIO_InitStruct.Alternate = GPIO_AF12_FMC;
  HAL_GPIO_Init(GPIOE, &GPIO_InitStruct);

  /*Configure GPIO pins : ARDUINO_SCL_D15_Pin ARDUINO_SDA_D14_Pin */
  GPIO_InitStruct.Pin = ARDUINO_SCL_D15_Pin|ARDUINO_SDA_D14_Pin;
  GPIO_InitStruct.Mode = GPIO_MODE_AF_OD;
  GPIO_InitStruct.Pull = GPIO_NOPULL;
  GPIO_InitStruct.Speed = GPIO_SPEED_FREQ_LOW;
  GPIO_InitStruct.Alternate = GPIO_AF4_I2C1;
  HAL_GPIO_Init(GPIOB, &GPIO_InitStruct);

  /*Configure GPIO pins : ULPI_D7_Pin ULPI_D6_Pin ULPI_D5_Pin ULPI_D3_Pin
                           ULPI_D2_Pin ULPI_D1_Pin ULPI_D4_Pin */
  GPIO_InitStruct.Pin = ULPI_D7_Pin|ULPI_D6_Pin|ULPI_D5_Pin|ULPI_D3_Pin
                          |ULPI_D2_Pin|ULPI_D1_Pin|ULPI_D4_Pin;
  GPIO_InitStruct.Mode = GPIO_MODE_AF_PP;
  GPIO_InitStruct.Pull = GPIO_NOPULL;
  GPIO_InitStruct.Speed = GPIO_SPEED_FREQ_VERY_HIGH;
  GPIO_InitStruct.Alternate = GPIO_AF10_OTG_HS;
  HAL_GPIO_Init(GPIOB, &GPIO_InitStruct);

  /*Configure GPIO pin : ARDUINO_PWM_D3_Pin */
  GPIO_InitStruct.Pin = ARDUINO_PWM_D3_Pin;
  GPIO_InitStruct.Mode = GPIO_MODE_AF_PP;
  GPIO_InitStruct.Pull = GPIO_NOPULL;
  GPIO_InitStruct.Speed = GPIO_SPEED_FREQ_LOW;
  GPIO_InitStruct.Alternate = GPIO_AF2_TIM3;
  HAL_GPIO_Init(ARDUINO_PWM_D3_GPIO_Port, &GPIO_InitStruct);

  /*Configure GPIO pin : SPDIF_RX0_Pin */
  GPIO_InitStruct.Pin = SPDIF_RX0_Pin;
  GPIO_InitStruct.Mode = GPIO_MODE_AF_PP;
  GPIO_InitStruct.Pull = GPIO_NOPULL;
  GPIO_InitStruct.Speed = GPIO_SPEED_FREQ_LOW;
  GPIO_InitStruct.Alternate = GPIO_AF8_SPDIFRX;
  HAL_GPIO_Init(SPDIF_RX0_GPIO_Port, &GPIO_InitStruct);

  /*Configure GPIO pins : SDMMC_CK_Pin SDMMC_D3_Pin SDMMC_D2_Pin PC9
                           PC8 */
  GPIO_InitStruct.Pin = SDMMC_CK_Pin|SDMMC_D3_Pin|SDMMC_D2_Pin|GPIO_PIN_9
                          |GPIO_PIN_8;
  GPIO_InitStruct.Mode = GPIO_MODE_AF_PP;
  GPIO_InitStruct.Pull = GPIO_NOPULL;
  GPIO_InitStruct.Speed = GPIO_SPEED_FREQ_VERY_HIGH;
  GPIO_InitStruct.Alternate = GPIO_AF12_SDMMC1;
  HAL_GPIO_Init(GPIOC, &GPIO_InitStruct);

  /*Configure GPIO pin : ARDUINO_PWM_D9_Pin */
  GPIO_InitStruct.Pin = ARDUINO_PWM_D9_Pin;
  GPIO_InitStruct.Mode = GPIO_MODE_AF_PP;
  GPIO_InitStruct.Pull = GPIO_NOPULL;
  GPIO_InitStruct.Speed = GPIO_SPEED_FREQ_LOW;
  GPIO_InitStruct.Alternate = GPIO_AF1_TIM2;
  HAL_GPIO_Init(ARDUINO_PWM_D9_GPIO_Port, &GPIO_InitStruct);

  /*Configure GPIO pins : DCMI_D6_Pin DCMI_D7_Pin */
  GPIO_InitStruct.Pin = DCMI_D6_Pin|DCMI_D7_Pin;
  GPIO_InitStruct.Mode = GPIO_MODE_AF_PP;
  GPIO_InitStruct.Pull = GPIO_NOPULL;
  GPIO_InitStruct.Speed = GPIO_SPEED_FREQ_LOW;
  GPIO_InitStruct.Alternate = GPIO_AF13_DCMI;
  HAL_GPIO_Init(GPIOE, &GPIO_InitStruct);

  /*Configure GPIO pin : VCP_RX_Pin */
  GPIO_InitStruct.Pin = VCP_RX_Pin;
  GPIO_InitStruct.Mode = GPIO_MODE_AF_PP;
  GPIO_InitStruct.Pull = GPIO_NOPULL;
  GPIO_InitStruct.Speed = GPIO_SPEED_FREQ_LOW;
  GPIO_InitStruct.Alternate = GPIO_AF7_USART1;
  HAL_GPIO_Init(VCP_RX_GPIO_Port, &GPIO_InitStruct);

  /*Configure GPIO pin : QSPI_NCS_Pin */
  GPIO_InitStruct.Pin = QSPI_NCS_Pin;
  GPIO_InitStruct.Mode = GPIO_MODE_AF_PP;
  GPIO_InitStruct.Pull = GPIO_NOPULL;
  GPIO_InitStruct.Speed = GPIO_SPEED_FREQ_VERY_HIGH;
  GPIO_InitStruct.Alternate = GPIO_AF10_QUADSPI;
  HAL_GPIO_Init(QSPI_NCS_GPIO_Port, &GPIO_InitStruct);

  /*Configure GPIO pins : FMC_SDNCAS_Pin FMC_SDCLK_Pin FMC_A11_Pin FMC_A10_Pin
                           FMC_BA1_Pin FMC_BA0_Pin */
  GPIO_InitStruct.Pin = FMC_SDNCAS_Pin|FMC_SDCLK_Pin|FMC_A11_Pin|FMC_A10_Pin
                          |FMC_BA1_Pin|FMC_BA0_Pin;
  GPIO_InitStruct.Mode = GPIO_MODE_AF_PP;
  GPIO_InitStruct.Pull = GPIO_NOPULL;
  GPIO_InitStruct.Speed = GPIO_SPEED_FREQ_VERY_HIGH;
  GPIO_InitStruct.Alternate = GPIO_AF12_FMC;
  HAL_GPIO_Init(GPIOG, &GPIO_InitStruct);

  /*Configure GPIO pins : LCD_B1_Pin LCD_B2_Pin LCD_B3_Pin LCD_G4_Pin
                           LCD_G1_Pin LCD_G3_Pin LCD_G0_Pin LCD_G2_Pin
                           LCD_R7_Pin LCD_R5_Pin LCD_R6_Pin LCD_R4_Pin
                           LCD_R3_Pin LCD_R1_Pin LCD_R2_Pin */
  GPIO_InitStruct.Pin = LCD_B1_Pin|LCD_B2_Pin|LCD_B3_Pin|LCD_G4_Pin
                          |LCD_G1_Pin|LCD_G3_Pin|LCD_G0_Pin|LCD_G2_Pin
                          |LCD_R7_Pin|LCD_R5_Pin|LCD_R6_Pin|LCD_R4_Pin
                          |LCD_R3_Pin|LCD_R1_Pin|LCD_R2_Pin;
  GPIO_InitStruct.Mode = GPIO_MODE_AF_PP;
  GPIO_InitStruct.Pull = GPIO_NOPULL;
  GPIO_InitStruct.Speed = GPIO_SPEED_FREQ_LOW;
  GPIO_InitStruct.Alternate = GPIO_AF14_LTDC;
  HAL_GPIO_Init(GPIOJ, &GPIO_InitStruct);

  /*Configure GPIO pin : OTG_FS_VBUS_Pin */
  GPIO_InitStruct.Pin = OTG_FS_VBUS_Pin;
  GPIO_InitStruct.Mode = GPIO_MODE_INPUT;
  GPIO_InitStruct.Pull = GPIO_NOPULL;
  HAL_GPIO_Init(OTG_FS_VBUS_GPIO_Port, &GPIO_InitStruct);

  /*Configure GPIO pin : Audio_INT_Pin */
  GPIO_InitStruct.Pin = Audio_INT_Pin;
  GPIO_InitStruct.Mode = GPIO_MODE_EVT_RISING;
  GPIO_InitStruct.Pull = GPIO_NOPULL;
  HAL_GPIO_Init(Audio_INT_GPIO_Port, &GPIO_InitStruct);

  /*Configure GPIO pins : FMC_D2_Pin FMC_D3_Pin FMC_D1_Pin FMC_D15_Pin
                           FMC_D0_Pin FMC_D14_Pin FMC_D13_Pin */
  GPIO_InitStruct.Pin = FMC_D2_Pin|FMC_D3_Pin|FMC_D1_Pin|FMC_D15_Pin
                          |FMC_D0_Pin|FMC_D14_Pin|FMC_D13_Pin;
  GPIO_InitStruct.Mode = GPIO_MODE_AF_PP;
  GPIO_InitStruct.Pull = GPIO_NOPULL;
  GPIO_InitStruct.Speed = GPIO_SPEED_FREQ_VERY_HIGH;
  GPIO_InitStruct.Alternate = GPIO_AF12_FMC;
  HAL_GPIO_Init(GPIOD, &GPIO_InitStruct);

  /*Configure GPIO pins : OTG_FS_P_Pin OTG_FS_N_Pin OTG_FS_ID_Pin */
  GPIO_InitStruct.Pin = OTG_FS_P_Pin|OTG_FS_N_Pin|OTG_FS_ID_Pin;
  GPIO_InitStruct.Mode = GPIO_MODE_AF_PP;
  GPIO_InitStruct.Pull = GPIO_NOPULL;
  GPIO_InitStruct.Speed = GPIO_SPEED_FREQ_VERY_HIGH;
  GPIO_InitStruct.Alternate = GPIO_AF10_OTG_FS;
  HAL_GPIO_Init(GPIOA, &GPIO_InitStruct);

  /*Configure GPIO pins : SAI2_MCLKA_Pin SAI2_SCKA_Pin SAI2_FSA_Pin SAI2_SDA_Pin */
  GPIO_InitStruct.Pin = SAI2_MCLKA_Pin|SAI2_SCKA_Pin|SAI2_FSA_Pin|SAI2_SDA_Pin;
  GPIO_InitStruct.Mode = GPIO_MODE_AF_PP;
  GPIO_InitStruct.Pull = GPIO_NOPULL;
  GPIO_InitStruct.Speed = GPIO_SPEED_FREQ_LOW;
  GPIO_InitStruct.Alternate = GPIO_AF10_SAI2;
  HAL_GPIO_Init(GPIOI, &GPIO_InitStruct);

  /*Configure GPIO pins : LCD_DE_Pin LCD_B7_Pin LCD_B6_Pin LCD_B5_Pin
                           LCD_G6_Pin LCD_G7_Pin LCD_G5_Pin */
  GPIO_InitStruct.Pin = LCD_DE_Pin|LCD_B7_Pin|LCD_B6_Pin|LCD_B5_Pin
                          |LCD_G6_Pin|LCD_G7_Pin|LCD_G5_Pin;
  GPIO_InitStruct.Mode = GPIO_MODE_AF_PP;
  GPIO_InitStruct.Pull = GPIO_NOPULL;
  GPIO_InitStruct.Speed = GPIO_SPEED_FREQ_LOW;
  GPIO_InitStruct.Alternate = GPIO_AF14_LTDC;
  HAL_GPIO_Init(GPIOK, &GPIO_InitStruct);

  /*Configure GPIO pin : LCD_B4_Pin */
  GPIO_InitStruct.Pin = LCD_B4_Pin;
  GPIO_InitStruct.Mode = GPIO_MODE_AF_PP;
  GPIO_InitStruct.Pull = GPIO_NOPULL;
  GPIO_InitStruct.Speed = GPIO_SPEED_FREQ_LOW;
  GPIO_InitStruct.Alternate = GPIO_AF9_LTDC;
  HAL_GPIO_Init(LCD_B4_GPIO_Port, &GPIO_InitStruct);

  /*Configure GPIO pin : SAI2_SDB_Pin */
  GPIO_InitStruct.Pin = SAI2_SDB_Pin;
  GPIO_InitStruct.Mode = GPIO_MODE_AF_PP;
  GPIO_InitStruct.Pull = GPIO_NOPULL;
  GPIO_InitStruct.Speed = GPIO_SPEED_FREQ_LOW;
  GPIO_InitStruct.Alternate = GPIO_AF10_SAI2;
  HAL_GPIO_Init(SAI2_SDB_GPIO_Port, &GPIO_InitStruct);

  /*Configure GPIO pin : OTG_FS_PowerSwitchOn_Pin */
  GPIO_InitStruct.Pin = OTG_FS_PowerSwitchOn_Pin;
  GPIO_InitStruct.Mode = GPIO_MODE_OUTPUT_PP;
  GPIO_InitStruct.Pull = GPIO_NOPULL;
  GPIO_InitStruct.Speed = GPIO_SPEED_FREQ_LOW;
  HAL_GPIO_Init(OTG_FS_PowerSwitchOn_GPIO_Port, &GPIO_InitStruct);

  /*Configure GPIO pin : DCMI_D5_Pin */
  GPIO_InitStruct.Pin = DCMI_D5_Pin;
  GPIO_InitStruct.Mode = GPIO_MODE_AF_PP;
  GPIO_InitStruct.Pull = GPIO_NOPULL;
  GPIO_InitStruct.Speed = GPIO_SPEED_FREQ_LOW;
  GPIO_InitStruct.Alternate = GPIO_AF13_DCMI;
  HAL_GPIO_Init(DCMI_D5_GPIO_Port, &GPIO_InitStruct);

  /*Configure GPIO pins : ARDUINO_D7_Pin ARDUINO_D8_Pin LED1_Pin LCD_DISP_Pin */
  GPIO_InitStruct.Pin = ARDUINO_D7_Pin|ARDUINO_D8_Pin|LED1_Pin|LCD_DISP_Pin;
  GPIO_InitStruct.Mode = GPIO_MODE_OUTPUT_PP;
  GPIO_InitStruct.Pull = GPIO_NOPULL;
  GPIO_InitStruct.Speed = GPIO_SPEED_FREQ_LOW;
  HAL_GPIO_Init(GPIOI, &GPIO_InitStruct);

  /*Configure GPIO pin : uSD_Detect_Pin */
  GPIO_InitStruct.Pin = uSD_Detect_Pin;
  GPIO_InitStruct.Mode = GPIO_MODE_INPUT;
  GPIO_InitStruct.Pull = GPIO_NOPULL;
  HAL_GPIO_Init(uSD_Detect_GPIO_Port, &GPIO_InitStruct);

  /*Configure GPIO pins : FMC_A0_Pin FMC_A1_Pin FMC_A2_Pin FMC_A3_Pin
                           FMC_A4_Pin FMC_A5_Pin FMC_A6_Pin FMC_A9_Pin
                           FMC_A7_Pin FMC_A8_Pin FMC_SDNRAS_Pin */
  GPIO_InitStruct.Pin = FMC_A0_Pin|FMC_A1_Pin|FMC_A2_Pin|FMC_A3_Pin
                          |FMC_A4_Pin|FMC_A5_Pin|FMC_A6_Pin|FMC_A9_Pin
                          |FMC_A7_Pin|FMC_A8_Pin|FMC_SDNRAS_Pin;
  GPIO_InitStruct.Mode = GPIO_MODE_AF_PP;
  GPIO_InitStruct.Pull = GPIO_NOPULL;
  GPIO_InitStruct.Speed = GPIO_SPEED_FREQ_VERY_HIGH;
  GPIO_InitStruct.Alternate = GPIO_AF12_FMC;
  HAL_GPIO_Init(GPIOF, &GPIO_InitStruct);

  /*Configure GPIO pins : LCD_HSYNC_Pin LCD_VSYNC_Pin LCD_R0_Pin LCD_CLK_Pin */
  GPIO_InitStruct.Pin = LCD_HSYNC_Pin|LCD_VSYNC_Pin|LCD_R0_Pin|LCD_CLK_Pin;
  GPIO_InitStruct.Mode = GPIO_MODE_AF_PP;
  GPIO_InitStruct.Pull = GPIO_NOPULL;
  GPIO_InitStruct.Speed = GPIO_SPEED_FREQ_LOW;
  GPIO_InitStruct.Alternate = GPIO_AF14_LTDC;
  HAL_GPIO_Init(GPIOI, &GPIO_InitStruct);

  /*Configure GPIO pin : LCD_BL_CTRL_Pin */
  GPIO_InitStruct.Pin = LCD_BL_CTRL_Pin;
  GPIO_InitStruct.Mode = GPIO_MODE_OUTPUT_PP;
  GPIO_InitStruct.Pull = GPIO_NOPULL;
  GPIO_InitStruct.Speed = GPIO_SPEED_FREQ_LOW;
  HAL_GPIO_Init(LCD_BL_CTRL_GPIO_Port, &GPIO_InitStruct);

  /*Configure GPIO pin : DCMI_VSYNC_Pin */
  GPIO_InitStruct.Pin = DCMI_VSYNC_Pin;
  GPIO_InitStruct.Mode = GPIO_MODE_AF_PP;
  GPIO_InitStruct.Pull = GPIO_NOPULL;
  GPIO_InitStruct.Speed = GPIO_SPEED_FREQ_LOW;
  GPIO_InitStruct.Alternate = GPIO_AF13_DCMI;
  HAL_GPIO_Init(DCMI_VSYNC_GPIO_Port, &GPIO_InitStruct);

  /*Configure GPIO pin : OTG_FS_OverCurrent_Pin */
  GPIO_InitStruct.Pin = OTG_FS_OverCurrent_Pin;
  GPIO_InitStruct.Mode = GPIO_MODE_INPUT;
  GPIO_InitStruct.Pull = GPIO_NOPULL;
  HAL_GPIO_Init(OTG_FS_OverCurrent_GPIO_Port, &GPIO_InitStruct);

  /*Configure GPIO pin : SDMMC_D0_Pin */
  GPIO_InitStruct.Pin = SDMMC_D0_Pin;
  GPIO_InitStruct.Mode = GPIO_MODE_AF_PP;
  GPIO_InitStruct.Pull = GPIO_NOPULL;
  GPIO_InitStruct.Speed = GPIO_SPEED_FREQ_VERY_HIGH;
  GPIO_InitStruct.Alternate = GPIO_AF12_SDMMC1;
  HAL_GPIO_Init(SDMMC_D0_GPIO_Port, &GPIO_InitStruct);

  /*Configure GPIO pins : TP3_Pin NC2_Pin */
  GPIO_InitStruct.Pin = TP3_Pin|NC2_Pin;
  GPIO_InitStruct.Mode = GPIO_MODE_INPUT;
  GPIO_InitStruct.Pull = GPIO_NOPULL;
  HAL_GPIO_Init(GPIOH, &GPIO_InitStruct);

  /*Configure GPIO pin : DCMI_PWR_EN_Pin */
  GPIO_InitStruct.Pin = DCMI_PWR_EN_Pin;
  GPIO_InitStruct.Mode = GPIO_MODE_OUTPUT_PP;
  GPIO_InitStruct.Pull = GPIO_NOPULL;
  GPIO_InitStruct.Speed = GPIO_SPEED_FREQ_LOW;
  HAL_GPIO_Init(DCMI_PWR_EN_GPIO_Port, &GPIO_InitStruct);

  /*Configure GPIO pins : DCMI_D4_Pin DCMI_D3_Pin DCMI_D0_Pin DCMI_D2_Pin
                           DCMI_D1_Pin */
  GPIO_InitStruct.Pin = DCMI_D4_Pin|DCMI_D3_Pin|DCMI_D0_Pin|DCMI_D2_Pin
                          |DCMI_D1_Pin;
  GPIO_InitStruct.Mode = GPIO_MODE_AF_PP;
  GPIO_InitStruct.Pull = GPIO_NOPULL;
  GPIO_InitStruct.Speed = GPIO_SPEED_FREQ_LOW;
  GPIO_InitStruct.Alternate = GPIO_AF13_DCMI;
  HAL_GPIO_Init(GPIOH, &GPIO_InitStruct);

  /*Configure GPIO pin : ARDUINO_PWM_CS_D5_Pin */
  GPIO_InitStruct.Pin = ARDUINO_PWM_CS_D5_Pin;
  GPIO_InitStruct.Mode = GPIO_MODE_AF_PP;
  GPIO_InitStruct.Pull = GPIO_NOPULL;
  GPIO_InitStruct.Speed = GPIO_SPEED_FREQ_LOW;
  GPIO_InitStruct.Alternate = GPIO_AF2_TIM5;
  HAL_GPIO_Init(ARDUINO_PWM_CS_D5_GPIO_Port, &GPIO_InitStruct);

  /*Configure GPIO pin : VCP_TX_Pin */
  GPIO_InitStruct.Pin = VCP_TX_Pin;
  GPIO_InitStruct.Mode = GPIO_MODE_AF_PP;
  GPIO_InitStruct.Pull = GPIO_NOPULL;
  GPIO_InitStruct.Speed = GPIO_SPEED_FREQ_LOW;
  GPIO_InitStruct.Alternate = GPIO_AF7_USART1;
  HAL_GPIO_Init(VCP_TX_GPIO_Port, &GPIO_InitStruct);

  /*Configure GPIO pin : USER_Btn_Pin */
  GPIO_InitStruct.Pin = USER_Btn_Pin;
  GPIO_InitStruct.Mode = GPIO_MODE_INPUT;
  GPIO_InitStruct.Pull = GPIO_NOPULL;
  HAL_GPIO_Init(USER_Btn_GPIO_Port, &GPIO_InitStruct);

  /*Configure GPIO pin : ARDUINO_PWM_D10_Pin */
  GPIO_InitStruct.Pin = ARDUINO_PWM_D10_Pin;
  GPIO_InitStruct.Mode = GPIO_MODE_AF_PP;
  GPIO_InitStruct.Pull = GPIO_NOPULL;
  GPIO_InitStruct.Speed = GPIO_SPEED_FREQ_LOW;
  GPIO_InitStruct.Alternate = GPIO_AF1_TIM1;
  HAL_GPIO_Init(ARDUINO_PWM_D10_GPIO_Port, &GPIO_InitStruct);

  /*Configure GPIO pin : LCD_INT_Pin */
  GPIO_InitStruct.Pin = LCD_INT_Pin;
  GPIO_InitStruct.Mode = GPIO_MODE_EVT_RISING;
  GPIO_InitStruct.Pull = GPIO_NOPULL;
  HAL_GPIO_Init(LCD_INT_GPIO_Port, &GPIO_InitStruct);

  /*Configure GPIO pins : ARDUINO_RX_D0_Pin ARDUINO_TX_D1_Pin */
  GPIO_InitStruct.Pin = ARDUINO_RX_D0_Pin|ARDUINO_TX_D1_Pin;
  GPIO_InitStruct.Mode = GPIO_MODE_AF_PP;
  GPIO_InitStruct.Pull = GPIO_NOPULL;
  GPIO_InitStruct.Speed = GPIO_SPEED_FREQ_VERY_HIGH;
  GPIO_InitStruct.Alternate = GPIO_AF8_USART6;
  HAL_GPIO_Init(GPIOC, &GPIO_InitStruct);

  /*Configure GPIO pin : ULPI_NXT_Pin */
  GPIO_InitStruct.Pin = ULPI_NXT_Pin;
  GPIO_InitStruct.Mode = GPIO_MODE_AF_PP;
  GPIO_InitStruct.Pull = GPIO_NOPULL;
  GPIO_InitStruct.Speed = GPIO_SPEED_FREQ_VERY_HIGH;
  GPIO_InitStruct.Alternate = GPIO_AF10_OTG_HS;
  HAL_GPIO_Init(ULPI_NXT_GPIO_Port, &GPIO_InitStruct);

  /*Configure GPIO pins : FMC_SDNME_Pin FMC_SDNE0_Pin */
  GPIO_InitStruct.Pin = FMC_SDNME_Pin|FMC_SDNE0_Pin;
  GPIO_InitStruct.Mode = GPIO_MODE_AF_PP;
  GPIO_InitStruct.Pull = GPIO_NOPULL;
  GPIO_InitStruct.Speed = GPIO_SPEED_FREQ_VERY_HIGH;
  GPIO_InitStruct.Alternate = GPIO_AF12_FMC;
  HAL_GPIO_Init(GPIOH, &GPIO_InitStruct);

  /*Configure GPIO pins : ARDUINO_D4_Pin ARDUINO_D2_Pin EXT_RST_Pin */
  GPIO_InitStruct.Pin = ARDUINO_D4_Pin|ARDUINO_D2_Pin|EXT_RST_Pin;
  GPIO_InitStruct.Mode = GPIO_MODE_OUTPUT_PP;
  GPIO_InitStruct.Pull = GPIO_NOPULL;
  GPIO_InitStruct.Speed = GPIO_SPEED_FREQ_LOW;
  HAL_GPIO_Init(GPIOG, &GPIO_InitStruct);

  /*Configure GPIO pins : ARDUINO_A4_Pin ARDUINO_A5_Pin ARDUINO_A1_Pin ARDUINO_A2_Pin
                           ARDUINO_A3_Pin */
  GPIO_InitStruct.Pin = ARDUINO_A4_Pin|ARDUINO_A5_Pin|ARDUINO_A1_Pin|ARDUINO_A2_Pin
                          |ARDUINO_A3_Pin;
  GPIO_InitStruct.Mode = GPIO_MODE_ANALOG;
  GPIO_InitStruct.Pull = GPIO_NOPULL;
  HAL_GPIO_Init(GPIOF, &GPIO_InitStruct);

  /*Configure GPIO pin : FMC_SDCKE0_Pin */
  GPIO_InitStruct.Pin = FMC_SDCKE0_Pin;
  GPIO_InitStruct.Mode = GPIO_MODE_AF_PP;
  GPIO_InitStruct.Pull = GPIO_NOPULL;
  GPIO_InitStruct.Speed = GPIO_SPEED_FREQ_VERY_HIGH;
  GPIO_InitStruct.Alternate = GPIO_AF12_FMC;
  HAL_GPIO_Init(FMC_SDCKE0_GPIO_Port, &GPIO_InitStruct);

  /*Configure GPIO pin : ULPI_STP_Pin */
  GPIO_InitStruct.Pin = ULPI_STP_Pin;
  GPIO_InitStruct.Mode = GPIO_MODE_AF_PP;
  GPIO_InitStruct.Pull = GPIO_NOPULL;
  GPIO_InitStruct.Speed = GPIO_SPEED_FREQ_VERY_HIGH;
  GPIO_InitStruct.Alternate = GPIO_AF10_OTG_HS;
  HAL_GPIO_Init(ULPI_STP_GPIO_Port, &GPIO_InitStruct);

  /*Configure GPIO pins : RMII_MDC_Pin RMII_RXD0_Pin RMII_RXD1_Pin */
  GPIO_InitStruct.Pin = RMII_MDC_Pin|RMII_RXD0_Pin|RMII_RXD1_Pin;
  GPIO_InitStruct.Mode = GPIO_MODE_AF_PP;
  GPIO_InitStruct.Pull = GPIO_NOPULL;
  GPIO_InitStruct.Speed = GPIO_SPEED_FREQ_VERY_HIGH;
  GPIO_InitStruct.Alternate = GPIO_AF11_ETH;
  HAL_GPIO_Init(GPIOC, &GPIO_InitStruct);

  /*Configure GPIO pin : PB2 */
  GPIO_InitStruct.Pin = GPIO_PIN_2;
  GPIO_InitStruct.Mode = GPIO_MODE_AF_PP;
  GPIO_InitStruct.Pull = GPIO_NOPULL;
  GPIO_InitStruct.Speed = GPIO_SPEED_FREQ_VERY_HIGH;
  GPIO_InitStruct.Alternate = GPIO_AF9_QUADSPI;
  HAL_GPIO_Init(GPIOB, &GPIO_InitStruct);

  /*Configure GPIO pins : QSPI_D1_Pin QSPI_D3_Pin QSPI_D0_Pin */
  GPIO_InitStruct.Pin = QSPI_D1_Pin|QSPI_D3_Pin|QSPI_D0_Pin;
  GPIO_InitStruct.Mode = GPIO_MODE_AF_PP;
  GPIO_InitStruct.Pull = GPIO_NOPULL;
  GPIO_InitStruct.Speed = GPIO_SPEED_FREQ_VERY_HIGH;
  GPIO_InitStruct.Alternate = GPIO_AF9_QUADSPI;
  HAL_GPIO_Init(GPIOD, &GPIO_InitStruct);

  /*Configure GPIO pin : RMII_RXER_Pin */
  GPIO_InitStruct.Pin = RMII_RXER_Pin;
  GPIO_InitStruct.Mode = GPIO_MODE_INPUT;
  GPIO_InitStruct.Pull = GPIO_NOPULL;
  HAL_GPIO_Init(RMII_RXER_GPIO_Port, &GPIO_InitStruct);

  /*Configure GPIO pins : RMII_REF_CLK_Pin RMII_MDIO_Pin RMII_CRS_DV_Pin */
  GPIO_InitStruct.Pin = RMII_REF_CLK_Pin|RMII_MDIO_Pin|RMII_CRS_DV_Pin;
  GPIO_InitStruct.Mode = GPIO_MODE_AF_PP;
  GPIO_InitStruct.Pull = GPIO_NOPULL;
  GPIO_InitStruct.Speed = GPIO_SPEED_FREQ_VERY_HIGH;
  GPIO_InitStruct.Alternate = GPIO_AF11_ETH;
  HAL_GPIO_Init(GPIOA, &GPIO_InitStruct);

  /*Configure GPIO pin : ARDUINO_A0_Pin */
  GPIO_InitStruct.Pin = ARDUINO_A0_Pin;
  GPIO_InitStruct.Mode = GPIO_MODE_ANALOG;
  GPIO_InitStruct.Pull = GPIO_NOPULL;
  HAL_GPIO_Init(ARDUINO_A0_GPIO_Port, &GPIO_InitStruct);

  /*Configure GPIO pins : DCMI_HSYNC_Pin PA6 */
  GPIO_InitStruct.Pin = DCMI_HSYNC_Pin|GPIO_PIN_6;
  GPIO_InitStruct.Mode = GPIO_MODE_AF_PP;
  GPIO_InitStruct.Pull = GPIO_NOPULL;
  GPIO_InitStruct.Speed = GPIO_SPEED_FREQ_LOW;
  GPIO_InitStruct.Alternate = GPIO_AF13_DCMI;
  HAL_GPIO_Init(GPIOA, &GPIO_InitStruct);

  /*Configure GPIO pins : LCD_SCL_Pin LCD_SDA_Pin */
  GPIO_InitStruct.Pin = LCD_SCL_Pin|LCD_SDA_Pin;
  GPIO_InitStruct.Mode = GPIO_MODE_AF_OD;
  GPIO_InitStruct.Pull = GPIO_NOPULL;
  GPIO_InitStruct.Speed = GPIO_SPEED_FREQ_VERY_HIGH;
  GPIO_InitStruct.Alternate = GPIO_AF4_I2C3;
  HAL_GPIO_Init(GPIOH, &GPIO_InitStruct);

  /*Configure GPIO pins : ULPI_CLK_Pin ULPI_D0_Pin */
  GPIO_InitStruct.Pin = ULPI_CLK_Pin|ULPI_D0_Pin;
  GPIO_InitStruct.Mode = GPIO_MODE_AF_PP;
  GPIO_InitStruct.Pull = GPIO_NOPULL;
  GPIO_InitStruct.Speed = GPIO_SPEED_FREQ_VERY_HIGH;
  GPIO_InitStruct.Alternate = GPIO_AF10_OTG_HS;
  HAL_GPIO_Init(GPIOA, &GPIO_InitStruct);

  /*Configure GPIO pin : ARDUINO_PWM_D6_Pin */
  GPIO_InitStruct.Pin = ARDUINO_PWM_D6_Pin;
  GPIO_InitStruct.Mode = GPIO_MODE_AF_PP;
  GPIO_InitStruct.Pull = GPIO_NOPULL;
  GPIO_InitStruct.Speed = GPIO_SPEED_FREQ_LOW;
  GPIO_InitStruct.Alternate = GPIO_AF9_TIM12;
  HAL_GPIO_Init(ARDUINO_PWM_D6_GPIO_Port, &GPIO_InitStruct);

  /*Configure GPIO pins : ARDUINO_MISO_D12_Pin ARDUINO_MOSI_PWM_D11_Pin */
  GPIO_InitStruct.Pin = ARDUINO_MISO_D12_Pin|ARDUINO_MOSI_PWM_D11_Pin;
  GPIO_InitStruct.Mode = GPIO_MODE_AF_PP;
  GPIO_InitStruct.Pull = GPIO_NOPULL;
  GPIO_InitStruct.Speed = GPIO_SPEED_FREQ_LOW;
  GPIO_InitStruct.Alternate = GPIO_AF5_SPI2;
  HAL_GPIO_Init(GPIOB, &GPIO_InitStruct);

}

/* USER CODE BEGIN 4 */
void HAL_TIM_PeriodElapsedCallback(TIM_HandleTypeDef *htim)
{
    if (htim->Instance == TIM6) {
        if (is_custom_duty_cycle == 0) {
            HAL_GPIO_TogglePin(LED1_GPIO_Port, LED1_Pin);
        }
        else {
            static uint8_t half_period_counter = 0;
            half_period_counter = !half_period_counter;

            if (half_period_counter) {
                HAL_GPIO_WritePin(LED1_GPIO_Port, LED1_Pin, GPIO_PIN_SET);
                led_on_time = HAL_GetTick();
            }
        }
    }
}
/* USER CODE END 4 */

void Error_Handler(void)
{
  __disable_irq();
  while (1)
  {
  }
}
